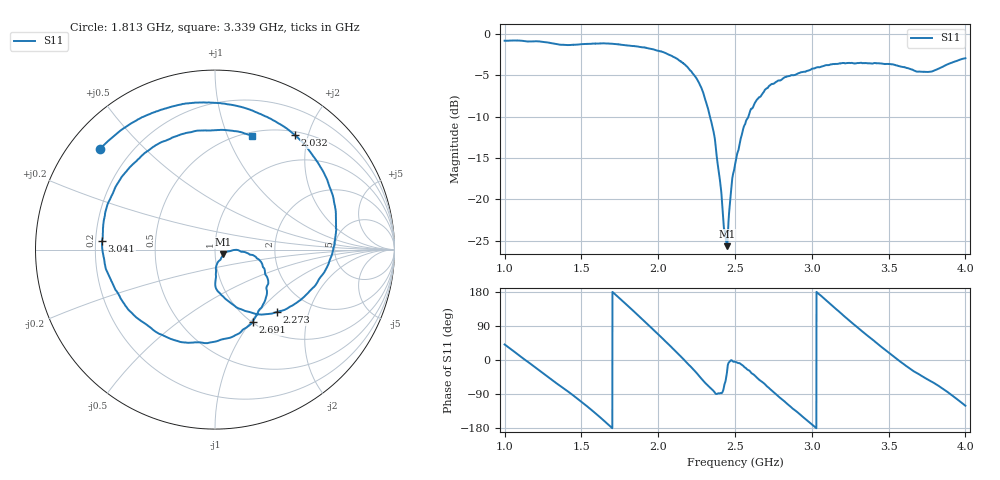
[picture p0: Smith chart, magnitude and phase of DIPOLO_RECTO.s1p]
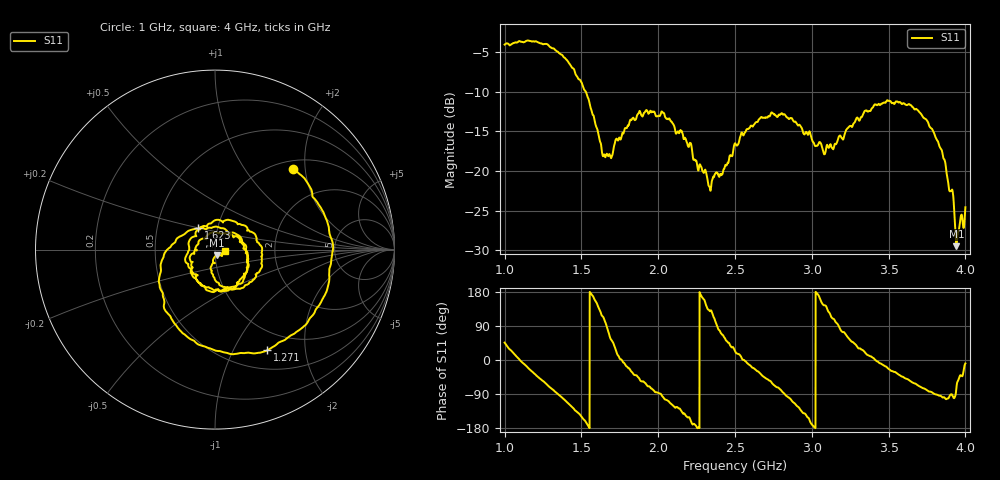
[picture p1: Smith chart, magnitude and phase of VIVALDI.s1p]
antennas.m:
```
addpath('/Users/danielmontesano/Documents/MATLAB/rend_v2')
rend('default','painters')

dipole = sparameters('DIPOLO_RECTO.s1p');

vivaldi = sparameters('VIVALDI.s1p');

figure;
hold on;
rfplot(vivaldi)
rfplot(dipole)

lines = findobj(gcf,'Type','Line');
for i = 1:numel(lines)
  lines(i).LineWidth = 2.0;
end

% xlim([1e9 4e9]);
% xticks(1e9:0.5e9:4e9)
% ylim([-15 25]);
% yticks([-40:5:30])
grid on
title('Measured return loss of vailable antennas ')
xlabel('Frequency [Hz]')
ylabel('Return loss [dB]');
set(gcf, 'color', 'w')
set(gca, 'fontsize', 18)
legend('Vivaldi antennas','Dipole antennas','location','southwest')

print('Vivaldi_S11','-depsc')
savefig('Vivaldi_S11')
```
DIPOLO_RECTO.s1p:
!Agilent Technologies,E8364A,US41440144,A.06.04.32
!Agilent E8364A: A.06.04.32
!Date: Thursday, May 24, 2018 11:13:50
!Correction: S11(Full 1 Port(1))
!S1P File: Measurement: S11:
# Hz S  dB  R 50
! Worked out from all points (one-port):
!   3201 points, 1 GHz to 4 GHz, reference 50 ohm
!   lowest |S11| = -25.7 dB at 2.448 GHz (marker M1), VSWR 1.11, Z = 54.7 - j2.84 ohm
!   |S11| at or under -10 dB: 2.337 GHz to 2.587 GHz (250.3 MHz wide, 10.2 % of centre)
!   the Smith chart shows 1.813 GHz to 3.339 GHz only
!   S11 on the Smith chart (normalised r, x): 1.813 GHz: 0.09, +0.37; 2.032 GHz: 0.55, +1.78; 2.273 GHz: 1.39, -1.27; 2.691 GHz: 1.01, -1.02; 3.041 GHz: 0.23, +0.03; 3.339 GHz: 0.54, +1.23
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1e9  -0.80 41.0
1.200625e9  -0.87 -19.5
1.43875e9  -1.30 -90.9
1.812812e9  -1.40 139.0
2.000312e9  -2.02 67.6
2.032188e9  -2.18 55.2
2.273125e9  -6.20 -45.1
2.448438e9  -25.67 -29.8
2.69125e9  -6.87 -62.4
3.000625e9  -4.20 -169.5
3.040938e9  -4.00 175.8
3.339062e9  -3.52 72.1
3.595938e9  -4.00 -10.1
4e9  -2.92 -120.7
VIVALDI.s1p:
!Agilent Technologies,E8364A,US41440144,A.06.04.32
!Agilent E8364A: A.06.04.32
!Date: Thursday, May 24, 2018 11:15:06
!Correction: S11(Full 1 Port(1))
!S1P File: Measurement: S11:
# Hz S  dB  R 50
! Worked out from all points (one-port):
!   3201 points, 1 GHz to 4 GHz, reference 50 ohm
!   lowest |S11| = -29.5 dB at 3.942 GHz (marker M1), VSWR 1.07, Z = 50.9 - j3.26 ohm
!   |S11| at or under -10 dB: 1.529 GHz to end of sweep
!   S11 on the Smith chart (normalised r, x): 1 GHz: 1.17, +1.72; 1.271 GHz: 0.73, -1.37; 1.623 GHz: 0.81, +0.20; 4 GHz: 1.12, -0.02
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1e9  -4.08 45.9
1.137812e9  -3.64 -14.4
1.270938e9  -3.99 -62.7
1.458438e9  -7.62 -133.1
1.623438e9  -16.41 128.2
2.000312e9  -13.05 -86.8
2.335938e9  -22.11 129.0
2.644375e9  -13.83 -29.4
3.000625e9  -15.99 -170.4
3.232188e9  -14.64 61.2
3.64375e9  -11.69 -56.4
3.835938e9  -17.08 -94.4
3.941875e9  -29.48 -72.5
4e9  -24.57 -9.0
